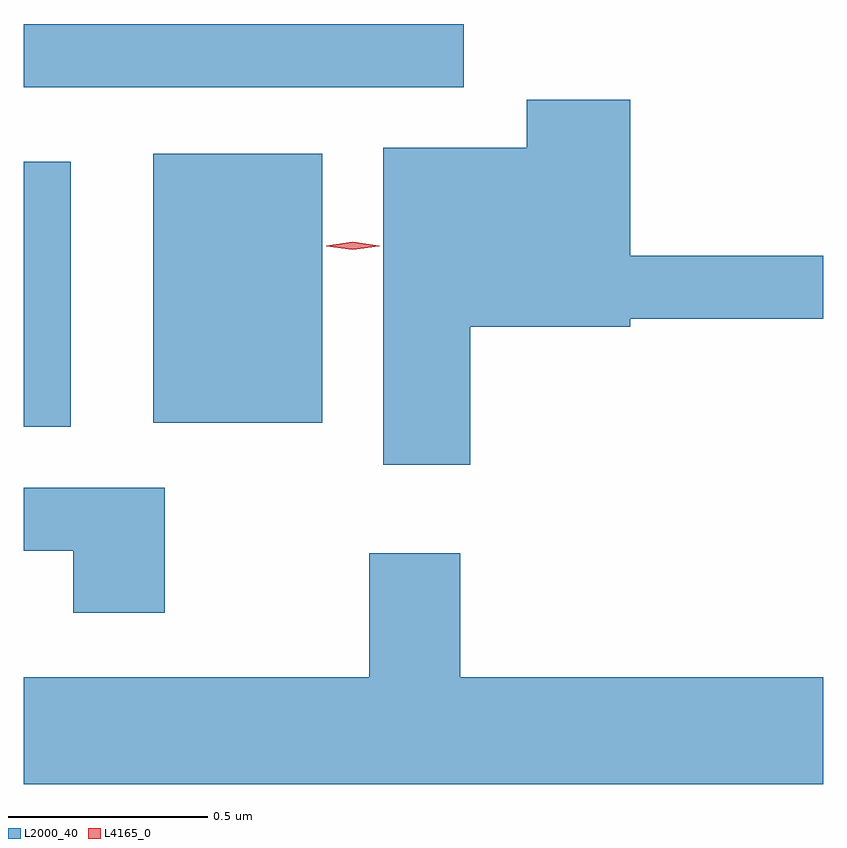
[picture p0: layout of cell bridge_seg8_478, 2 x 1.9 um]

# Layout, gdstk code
import gdstk
lib = gdstk.Library(unit=1e-6, precision=1e-09)
def R(c, l, rs):  # rectangles x0, y0, x1, y1
    for r in rs: c.add(gdstk.rectangle(r[:2], r[2:], *l))
def P(c, l, *ps):  # polygons
    for p in ps: c.add(gdstk.Polygon(p, *l))
L2000_40 = (2000, 40)
L4165_0 = (4165, 0)

bridge_seg8_478 = lib.new_cell('bridge_seg8_478')
R(bridge_seg8_478, L2000_40, [(598.067,1892.811,598.184,1893.474), (598.391,1892.821,598.814,1893.494), (598.067,1893.661,599.168,1893.819)])
P(bridge_seg8_478, L2000_40, [(599.184,1893.061),(599.584,1893.061),(599.584,1893.081),(600.067,1893.081),(600.067,1893.239),(599.584,1893.239),(599.584,1893.629),(599.326,1893.629),(599.326,1893.509),(598.966,1893.509),(598.966,1892.716),(599.184,1892.716)],
  [(598.419,1892.659),(598.067,1892.659),(598.067,1892.501),(598.191,1892.501),(598.191,1892.346),(598.419,1892.346)],
  [(600.067,1892.184),(599.159,1892.184),(599.159,1892.494),(598.931,1892.494),(598.931,1892.184),(598.067,1892.184),(598.067,1891.917),(600.067,1891.917)])
P(bridge_seg8_478, L4165_0, [(598.89,1893.254),(598.824,1893.263),(598.823,1893.264),(598.824,1893.264),(598.89,1893.274),(598.956,1893.264),(598.957,1893.264),(598.956,1893.263)])

lib.write_gds('bridge_seg8_478.gds')
